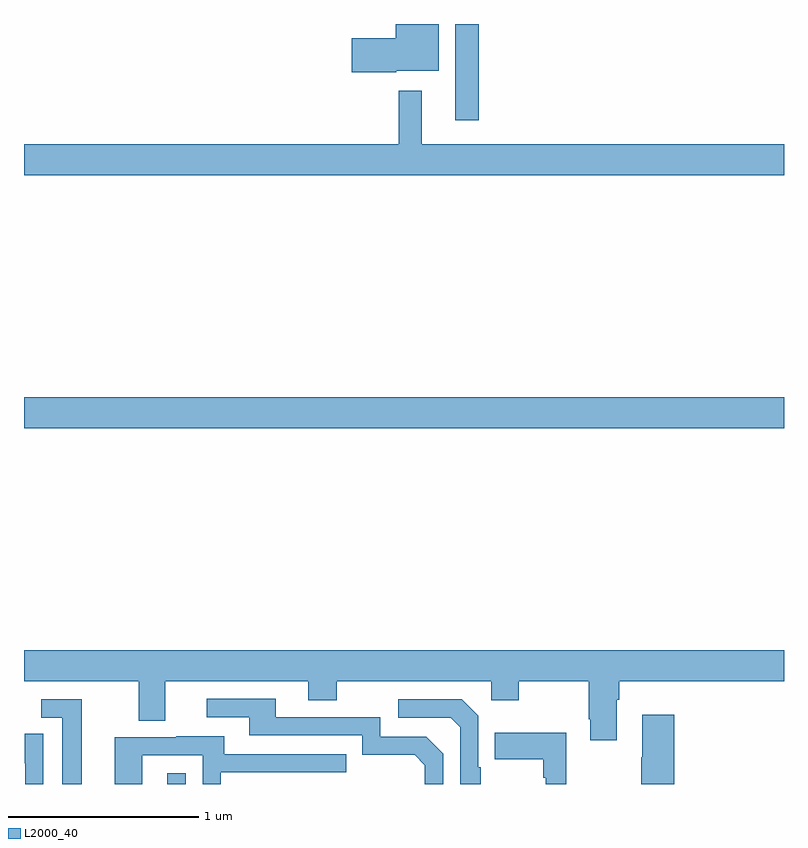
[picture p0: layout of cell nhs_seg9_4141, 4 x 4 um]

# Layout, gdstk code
import gdstk
lib = gdstk.Library(unit=1e-6, precision=1e-09)
def R(c, l, rs):  # rectangles x0, y0, x1, y1
    for r in rs: c.add(gdstk.rectangle(r[:2], r[2:], *l))
def P(c, l, *ps):  # polygons
    for p in ps: c.add(gdstk.Polygon(p, *l))
L2000_40 = (2000, 40)

nhs_seg9_4141 = lib.new_cell('nhs_seg9_4141')
R(nhs_seg9_4141, L2000_40, [(347.753,1242.5,347.85,1242.556), (347,1244.372,351,1244.536), (349.271,1245.993,349.393,1246.5)])
P(nhs_seg9_4141, L2000_40, [(348.96,1246.253),(349.183,1246.253),(349.183,1246.5),(348.956,1246.5),(348.956,1246.424),(348.726,1246.424),(348.726,1246.246),(348.96,1246.246)],
  [(351,1245.868),(349.093,1245.868),(349.093,1246.15),(348.972,1246.15),(348.972,1245.868),(347,1245.868),(347,1245.704),(351,1245.704)],
  [(350.119,1242.944),(350.132,1242.944),(350.132,1243.04),(351,1243.04),(351,1243.204),(347,1243.204),(347,1243.04),(347.603,1243.04),(347.603,1242.832),(347.743,1242.832),(347.743,1243.04),(348.497,1243.04),(348.497,1242.941),(348.645,1242.941),(348.645,1243.04),(349.458,1243.04),(349.458,1242.941),(349.605,1242.941),(349.605,1243.04),(349.972,1243.04),(349.972,1242.841),(349.979,1242.841),(349.979,1242.729),(350.119,1242.729)],
  [(349.206,1242.66),(349.116,1242.75),(348.876,1242.75),(348.876,1242.852),(348.325,1242.852),(348.325,1242.948),(347.961,1242.948),(347.961,1242.852),(348.185,1242.852),(348.185,1242.756),(348.78,1242.756),(348.78,1242.653),(349.057,1242.653),(349.11,1242.6),(349.11,1242.5),(349.206,1242.5)],
  [(347.305,1242.945),(347.091,1242.945),(347.091,1242.849),(347.201,1242.849),(347.201,1242.5),(347.305,1242.5)],
  [(349.405,1242.589),(349.392,1242.589),(349.392,1242.858),(349.305,1242.945),(348.969,1242.945),(348.969,1242.849),(349.245,1242.849),(349.296,1242.798),(349.296,1242.5),(349.405,1242.5)],
  [(350.423,1242.865),(350.255,1242.865),(350.255,1242.641),(350.248,1242.641),(350.248,1242.5),(350.423,1242.5)],
  [(349.855,1242.769),(349.477,1242.769),(349.477,1242.629),(349.734,1242.629),(349.734,1242.533),(349.746,1242.533),(349.746,1242.5),(349.855,1242.5)],
  [(347.1,1242.764),(347.004,1242.764),(347.004,1242.61),(347.006,1242.61),(347.006,1242.5),(347.1,1242.5)],
  [(347.622,1242.651),(347.94,1242.651),(347.94,1242.5),(348.036,1242.5),(348.036,1242.561),(348.695,1242.561),(348.695,1242.657),(348.055,1242.657),(348.055,1242.751),(347.801,1242.751),(347.801,1242.747),(347.477,1242.747),(347.477,1242.5),(347.622,1242.5)])

lib.write_gds('nhs_seg9_4141.gds')
